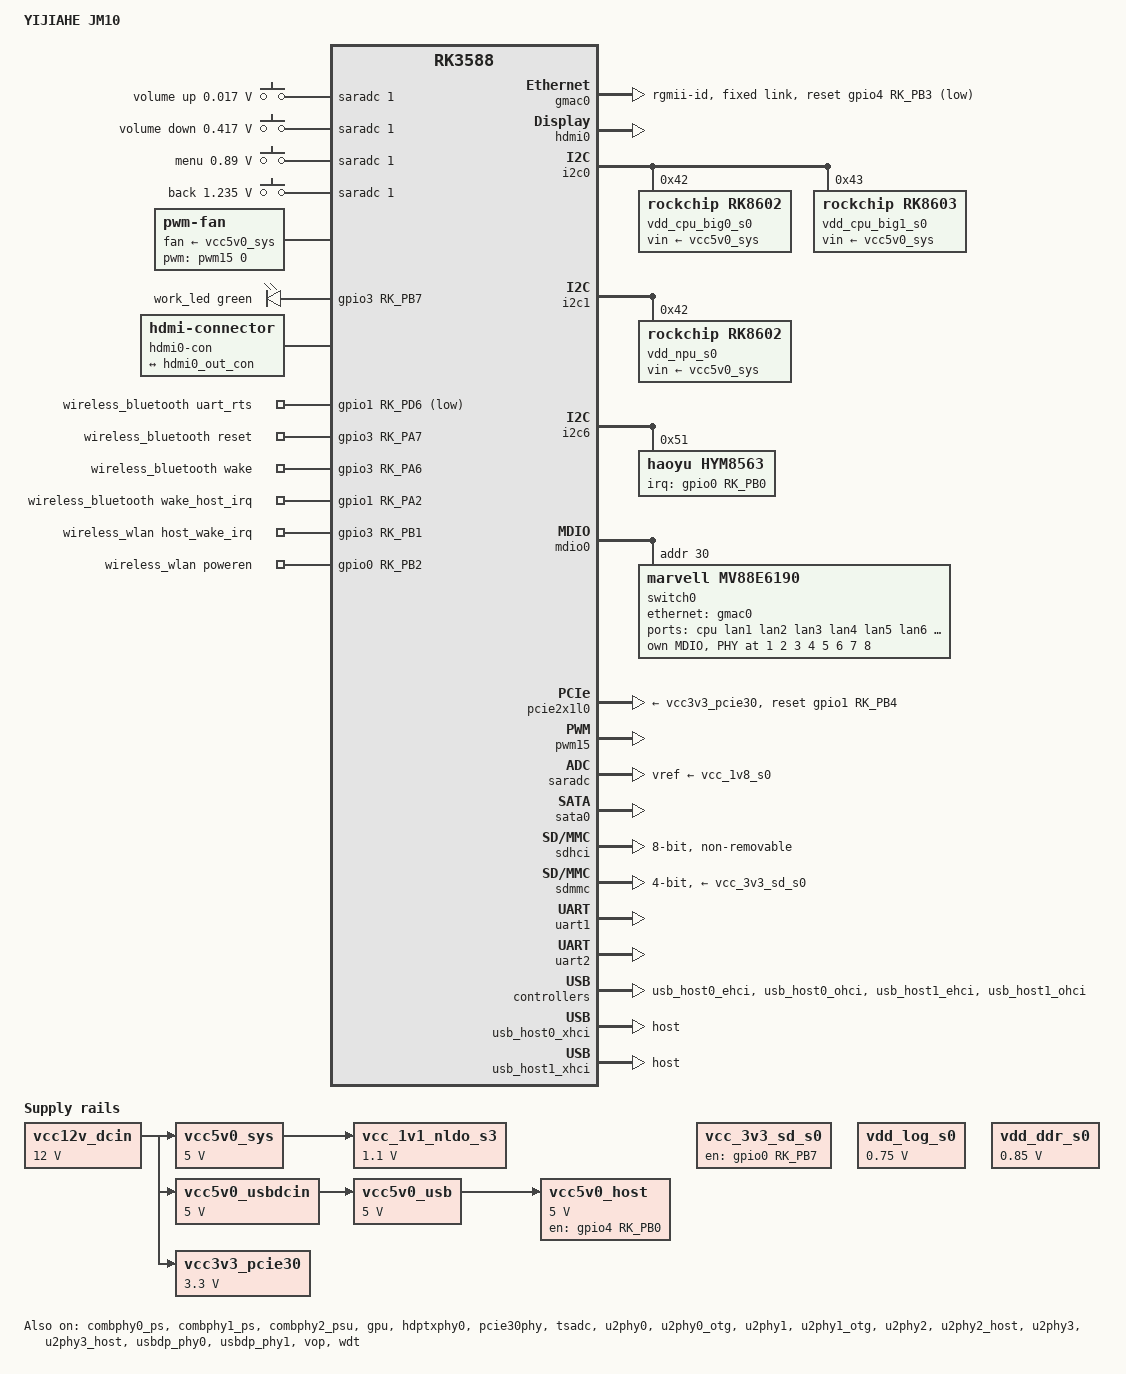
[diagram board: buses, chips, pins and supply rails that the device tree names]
// SPDX-License-Identifier: (GPL-2.0+ OR MIT)
// Copyright (c) 2025 YIJIAHE

/dts-v1/;

#include <dt-bindings/gpio/gpio.h>
#include <dt-bindings/leds/common.h>
#include <dt-bindings/input/input.h>
#include <dt-bindings/pwm/pwm.h>
#include <dt-bindings/pinctrl/rockchip.h>
#include <dt-bindings/soc/rockchip,vop2.h>
#include <dt-bindings/usb/pd.h>
#include <rockchip/rk3588.dtsi>
#include "rk3588-rk806-single.dtsi"
#include "rk3588s-ip.dtsi"
#include "rk3588s-ip-supply.dtsi"

#include "rk3588-ramoops.dtsi"

/ {
	model = "YIJIAHE JM10";
	compatible = "yijiahe,jm10", "rockchip,rk3588";

	aliases {
		mmc0 = &sdhci;
		mmc1 = &sdmmc;
		ethernet0 = &gmac0;
	};

	chosen {
		stdout-path = "serial2:1500000n8";
	};

	adc-keys {
		compatible = "adc-keys";
		io-channels = <&saradc 1>;
		io-channel-names = "buttons";
		keyup-threshold-microvolt = <1800000>;
		poll-interval = <100>;

		vol-up-key {
			label = "volume up";
			linux,code = <KEY_VOLUMEUP>;
			press-threshold-microvolt = <17000>;
		};

		vol-down-key {
			label = "volume down";
			linux,code = <KEY_VOLUMEDOWN>;
			press-threshold-microvolt = <417000>;
		};

		menu-key {
			label = "menu";
			linux,code = <KEY_MENU>;
			press-threshold-microvolt = <890000>;
		};

		back-key {
			label = "back";
			linux,code = <KEY_BACK>;
			press-threshold-microvolt = <1235000>;
		};
	};

	fan: pwm-fan {
		compatible = "pwm-fan";
		cooling-levels = <0 50 100 150 220 255>;
		pwms = <&pwm15 0 1000000 0>;
		fan-supply = <&vcc5v0_sys>;
		#cooling-cells = <2>;
	};

	gpio-leds {
		compatible = "gpio-leds";
		pinctrl-names = "default";
		pinctrl-0 = <&work_led_pin>;

		work_led: work-led {
			color = <LED_COLOR_ID_GREEN>;
			function = LED_FUNCTION_HEARTBEAT;
			gpios = <&gpio3 RK_PB7 GPIO_ACTIVE_HIGH>;
		};
	};

	hdmi0-con {
		compatible = "hdmi-connector";
		type = "a";

		port {
			hdmi0_con_in: endpoint {
				remote-endpoint = <&hdmi0_out_con>;
			};
		};
	};

	vcc12v_dcin: vcc12v-dcin-regulator {
		compatible = "regulator-fixed";
		regulator-name = "vcc12v_dcin";
		regulator-always-on;
		regulator-boot-on;
		regulator-min-microvolt = <12000000>;
		regulator-max-microvolt = <12000000>;
	};

	vcc5v0_sys: vcc5v0-sys-regulator {
		compatible = "regulator-fixed";
		regulator-name = "vcc5v0_sys";
		regulator-always-on;
		regulator-boot-on;
		regulator-min-microvolt = <5000000>;
		regulator-max-microvolt = <5000000>;
		vin-supply = <&vcc12v_dcin>;
	};

	vcc5v0_usbdcin: vcc5v0-usbdcin-regulator {
		compatible = "regulator-fixed";
		regulator-name = "vcc5v0_usbdcin";
		regulator-always-on;
		regulator-boot-on;
		regulator-min-microvolt = <5000000>;
		regulator-max-microvolt = <5000000>;
		vin-supply = <&vcc12v_dcin>;
	};

	vcc5v0_usb: vcc5v0-usb-regulator {
		compatible = "regulator-fixed";
		regulator-name = "vcc5v0_usb";
		regulator-always-on;
		regulator-boot-on;
		regulator-min-microvolt = <5000000>;
		regulator-max-microvolt = <5000000>;
		vin-supply = <&vcc5v0_usbdcin>;
	};

	vcc3v3_pcie30: vcc3v3-pcie30-regulator {
		compatible = "regulator-fixed";
		regulator-name = "vcc3v3_pcie30";
		regulator-min-microvolt = <3300000>;
		regulator-max-microvolt = <3300000>;
		regulator-boot-on;
		enable-active-high;
		pinctrl-names = "default";
		pinctrl-0 = <&wifi_poweren_gpio>;
		vin-supply = <&vcc12v_dcin>;
	};

	vcc_1v1_nldo_s3: vcc-1v1-nldo-s3-regulator {
		compatible = "regulator-fixed";
		regulator-name = "vcc_1v1_nldo_s3";
		regulator-always-on;
		regulator-boot-on;
		regulator-min-microvolt = <1100000>;
		regulator-max-microvolt = <1100000>;
		vin-supply = <&vcc5v0_sys>;
	};

	vcc5v0_host: vcc5v0-host-regulator {
		compatible = "regulator-fixed";
		regulator-name = "vcc5v0_host";
		regulator-boot-on;
		regulator-always-on;
		regulator-min-microvolt = <5000000>;
		regulator-max-microvolt = <5000000>;
		enable-active-high;
		gpio = <&gpio4 RK_PB0 GPIO_ACTIVE_HIGH>;
		vin-supply = <&vcc5v0_usb>;
		pinctrl-names = "default";
		pinctrl-0 = <&vcc5v0_host_en>;
	};

	vcc_3v3_sd_s0: vcc-3v3-sd-s0-regulator {
		compatible = "regulator-fixed";
		gpio = <&gpio0 RK_PB7 GPIO_ACTIVE_HIGH>;
		pinctrl-names = "default";
		pinctrl-0 = <&sd_s0_pwr>;
		regulator-name = "vcc_3v3_sd_s0";
		enable-active-high;
	};

	wireless_bluetooth: wireless-bluetooth {
		compatible = "bluetooth-platdata";
		clocks = <&hym8563>;
		clock-names = "ext_clock";
		uart_rts_gpios = <&gpio1 RK_PD6 GPIO_ACTIVE_LOW>;
		pinctrl-names = "default", "rts_gpio";
		pinctrl-0 = <&uart1m1_rtsn>;
		pinctrl-1 = <&uart1_rts_gpio>;
		BT,reset_gpio = <&gpio3 RK_PA7 GPIO_ACTIVE_HIGH>;
		BT,wake_gpio = <&gpio3 RK_PA6 GPIO_ACTIVE_HIGH>;
		BT,wake_host_irq = <&gpio1 RK_PA2 GPIO_ACTIVE_HIGH>;
		status = "okay";
	};

	wireless_wlan: wireless-wlan {
		compatible = "wlan-platdata";
		wifi_chip_type = "ap6275p";
		pinctrl-names = "default";
		pinctrl-0 = <&wifi_host_wake_irq>;
		WIFI,host_wake_irq = <&gpio3 RK_PB1 GPIO_ACTIVE_HIGH>;
		WIFI,poweren_gpio = <&gpio0 RK_PB2 GPIO_ACTIVE_HIGH>;
		status = "okay";
	};
};

&combphy0_ps {
	status = "okay";
};

&combphy1_ps {
	status = "okay";
};

&combphy2_psu {
	status = "okay";
};

&cpu_b0 {
	cpu-supply = <&vdd_cpu_big0_s0>;
};

&cpu_b1 {
	cpu-supply = <&vdd_cpu_big0_s0>;
};

&cpu_b2 {
	cpu-supply = <&vdd_cpu_big1_s0>;
};

&cpu_b3 {
	cpu-supply = <&vdd_cpu_big1_s0>;
};

&cpu_l0 {
	cpu-supply = <&vdd_cpu_lit_s0>;
};

&cpu_l1 {
	cpu-supply = <&vdd_cpu_lit_s0>;
};

&cpu_l2 {
	cpu-supply = <&vdd_cpu_lit_s0>;
};

&cpu_l3 {
	cpu-supply = <&vdd_cpu_lit_s0>;
};

&gmac0 {
	phy-mode = "rgmii-id";
	clock_in_out = "output";
	snps,reset-gpio = <&gpio4 RK_PB3 GPIO_ACTIVE_LOW>;
	snps,reset-active-low;
	snps,reset-delays-us = <0 20000 100000>;
	pinctrl-names = "default";
	pinctrl-0 = <&gmac0_miim
		     &gmac0_tx_bus2
		     &gmac0_rx_bus2
		     &gmac0_rgmii_clk
		     &gmac0_rgmii_bus>;
	tx_delay = <0x45>;
	status = "okay";

	fixed-link {
		speed = <1000>;
		full-duplex;
	};
};

&gpu {
	mali-supply = <&vdd_gpu_s0>;
	mem-supply = <&vdd_gpu_mem_s0>;
	status = "okay";
};

&hdmi0 {
	status = "okay";
};

&hdmi0_in {
	hdmi0_in_vp0: endpoint {
		remote-endpoint = <&vp0_out_hdmi0>;
	};
};

&hdmi0_out {
	hdmi0_out_con: endpoint {
		remote-endpoint = <&hdmi0_con_in>;
	};
};

&hdptxphy0 {
	status = "okay";
};

&i2c0 {
	pinctrl-names = "default";
	pinctrl-0 = <&i2c0m2_xfer>;
	status = "okay";

	vdd_cpu_big0_s0: regulator@42 {
		compatible = "rockchip,rk8602";
		reg = <0x42>;
		fcs,suspend-voltage-selector = <1>;
		regulator-compatible = "rk860x-reg";
		regulator-name = "vdd_cpu_big0_s0";
		regulator-always-on;
		regulator-boot-on;
		regulator-min-microvolt = <550000>;
		regulator-max-microvolt = <1050000>;
		regulator-ramp-delay = <2300>;
		vin-supply = <&vcc5v0_sys>;

		regulator-state-mem {
			regulator-off-in-suspend;
		};
	};

	vdd_cpu_big1_s0: regulator@43 {
		compatible = "rockchip,rk8603", "rockchip,rk8602";
		reg = <0x43>;
		fcs,suspend-voltage-selector = <1>;
		regulator-compatible = "rk860x-reg";
		regulator-name = "vdd_cpu_big1_s0";
		regulator-always-on;
		regulator-boot-on;
		regulator-min-microvolt = <550000>;
		regulator-max-microvolt = <1050000>;
		regulator-ramp-delay = <2300>;
		vin-supply = <&vcc5v0_sys>;

		regulator-state-mem {
			regulator-off-in-suspend;
		};
	};
};

&i2c1 {
	pinctrl-names = "default";
	pinctrl-0 = <&i2c1m2_xfer>;
	status = "okay";

	vdd_npu_s0: vdd_npu_mem_s0: regulator@42 {
		compatible = "rockchip,rk8602";
		reg = <0x42>;
		fcs,suspend-voltage-selector = <1>;
		regulator-compatible = "rk860x-reg";
		regulator-name = "vdd_npu_s0";
		regulator-always-on;
		regulator-boot-on;
		regulator-min-microvolt = <550000>;
		regulator-max-microvolt = <950000>;
		regulator-ramp-delay = <2300>;
		vin-supply = <&vcc5v0_sys>;

		regulator-state-mem {
			regulator-off-in-suspend;
		};
	};
};

&i2c6 {
	status = "okay";

	hym8563: rtc@51 {
		compatible = "haoyu,hym8563";
		reg = <0x51>;
		interrupt-parent = <&gpio0>;
		interrupts = <RK_PB0 IRQ_TYPE_LEVEL_LOW>;
		#clock-cells = <0>;
		clock-output-names = "hym8563";
		pinctrl-names = "default";
		pinctrl-0 = <&hym8563_int>;
		wakeup-source;
	};
};

&mdio0 {
	switch0: switch@1e {
		compatible = "marvell,mv88e6190";
		#address-cells = <1>;
		#size-cells = <0>;
		reg = <0x1e>;
		dsa,member = <0 0>;

		ports {
			#address-cells = <1>;
			#size-cells = <0>;

			port@0 {
				reg = <0>;
				label = "cpu";
				ethernet = <&gmac0>;
				phy-mode = "rgmii-id";
				fixed-link {
					speed = <1000>;
					full-duplex;
				};
			};

			port@1 {
				reg = <1>;
				label = "lan1";
				phy-handle = <&switch0phy1>;
			};

			port@2 {
				reg = <2>;
				label = "lan2";
				phy-handle = <&switch0phy2>;
			};

			port@3 {
				reg = <3>;
				label = "lan3";
				phy-handle = <&switch0phy3>;
			};

			port@4 {
				reg = <4>;
				label = "lan4";
				phy-handle = <&switch0phy4>;
			};

			port@5 {
				reg = <5>;
				label = "lan5";
				phy-handle = <&switch0phy5>;
			};

			port@6 {
				reg = <6>;
				label = "lan6";
				phy-handle = <&switch0phy6>;
			};

			port@7 {
				reg = <7>;
				label = "lan7";
				phy-handle = <&switch0phy7>;
			};

			port@8 {
				reg = <8>;
				label = "lan8";
				phy-handle = <&switch0phy8>;
			};
		};

		mdio {
			#address-cells = <1>;
			#size-cells = <0>;

			switch0phy1: ethernet-phy@1 {
				reg = <1>;
			};
			switch0phy2: ethernet-phy@2 {
				reg = <2>;
			};
			switch0phy3: ethernet-phy@3 {
				reg = <3>;
			};
			switch0phy4: ethernet-phy@4 {
				reg = <4>;
			};
			switch0phy5: ethernet-phy@5 {
				reg = <5>;
			};
			switch0phy6: ethernet-phy@6 {
				reg = <6>;
			};
			switch0phy7: ethernet-phy@7 {
				reg = <7>;
			};
			switch0phy8: ethernet-phy@8 {
				reg = <8>;
			};
		};
	};
};

&package_thermal {
	polling-delay = <1000>;

	trips {
		package_fan0: package-fan0 {
			temperature = <40000>;
			hysteresis = <5000>;
			type = "active";
		};

		package_fan1: package-fan1 {
			temperature = <45000>;
			hysteresis = <5000>;
			type = "active";
		};

		package_fan2: package-fan2 {
			temperature = <50000>;
			hysteresis = <5000>;
			type = "active";
		};

		package_fan3: package-fan3 {
			temperature = <55000>;
			hysteresis = <5000>;
			type = "active";
		};

		package_fan4: package-fan4 {
			temperature = <60000>;
			hysteresis = <5000>;
			type = "active";
		};
	};

	cooling-maps {
		map0 {
			trip = <&package_fan0>;
			cooling-device = <&fan 0 1>;
		};

		map1 {
			trip = <&package_fan1>;
			cooling-device = <&fan 1 2>;
		};

		map2 {
			trip = <&package_fan2>;
			cooling-device = <&fan 2 3>;
		};

		map3 {
			trip = <&package_fan3>;
			cooling-device = <&fan 3 4>;
		};

		map4 {
			trip = <&package_fan4>;
			cooling-device = <&fan 4 5>;
		};
	};
};

&pcie2x1l0 {
	reset-gpios = <&gpio1 RK_PB4 GPIO_ACTIVE_HIGH>;
	rockchip,skip-scan-in-resume;
	rockchip,perst-inactive-ms = <500>;
	vpcie3v3-supply = <&vcc3v3_pcie30>;
	status = "okay";
};

&pcie30phy {
	status = "okay";
};

&pinctrl {
	hym8563 {
		hym8563_int: hym8563-int {
			rockchip,pins = <0 RK_PB0 RK_FUNC_GPIO &pcfg_pull_up>;
		};
	};

	leds {
		work_led_pin: work-led-pin {
			rockchip,pins = <3 RK_PB7 RK_FUNC_GPIO &pcfg_pull_none>;
		};
	};

	sdmmc {
		sd_s0_pwr: sd-s0-pwr {
			rockchip,pins = <0 RK_PB7 RK_FUNC_GPIO &pcfg_pull_up>;
		};
	};

	usb {
		vcc5v0_host_en: vcc5v0-host-en {
			rockchip,pins = <4 RK_PB0 RK_FUNC_GPIO &pcfg_pull_none>;
		};
	};

	wireless-wlan {
		wifi_poweren_gpio: wifi-poweren-gpio {
			rockchip,pins = <3 RK_PB1 RK_FUNC_GPIO &pcfg_pull_up>;
		};

		wifi_host_wake_irq: wifi-host-wake-irq {
			rockchip,pins = <0 RK_PB2 RK_FUNC_GPIO &pcfg_pull_up>;
		};
	};

	wireless-bluetooth {
		uart1_rts_gpio: uart1-rts-gpio {
			rockchip,pins = <1 RK_PD6 RK_FUNC_GPIO &pcfg_pull_none>;
		};
	};
};

&pwm15 {
	pinctrl-0 = <&pwm15m2_pins>;
	status = "okay";
};

&saradc {
	vref-supply = <&vcc_1v8_s0>;
	status = "okay";
};

&sata0 {
	status = "okay";
};

&sdhci {
	bus-width = <8>;
	no-sdio;
	no-sd;
	non-removable;
	max-frequency = <200000000>;
	mmc-hs400-1_8v;
	mmc-hs400-enhanced-strobe;
	status = "okay";
};

&sdmmc {
	max-frequency = <150000000>;
	no-sdio;
	no-mmc;
	bus-width = <4>;
	cap-mmc-highspeed;
	cap-sd-highspeed;
	disable-wp;
	sd-uhs-sdr104;
	vqmmc-supply = <&vccio_sd_s0>;
	vmmc-supply = <&vcc_3v3_sd_s0>;
	status = "okay";
};

&tsadc {
	status = "okay";
};

&u2phy0 {
	status = "okay";
};

&u2phy0_otg {
	status = "okay";
};

&u2phy1 {
	status = "okay";
};

&u2phy1_otg {
	phy-supply = <&vcc5v0_host>;
	status = "okay";
};

&u2phy2 {
	status = "okay";
};

&u2phy2_host {
	phy-supply = <&vcc5v0_host>;
	status = "okay";
};

&u2phy3 {
	status = "okay";
};

&u2phy3_host {
	phy-supply = <&vcc5v0_host>;
	status = "okay";
};

&uart1 {
	status = "okay";
	pinctrl-names = "default";
	pinctrl-0 = <&uart1m1_xfer>, <&uart1m1_ctsn>;
};

&uart2 {
	pinctrl-0 = <&uart2m0_xfer>;
	status = "okay";
};

&usb_host0_ehci {
	status = "okay";
};

&usb_host0_ohci {
	status = "okay";
};

&usb_host0_xhci {
	dr_mode = "host";
	status = "okay";
};

&usb_host1_ehci {
	status = "okay";
};

&usb_host1_ohci {
	status = "okay";
};

&usb_host1_xhci {
	dr_mode = "host";
	status = "okay";
};

&usbdp_phy0 {
	status = "okay";
};

&usbdp_phy1 {
	status = "okay";
};

&vdd_gpu_s0 {
	regulator-always-on;
};

&vdd_log_s0 {
	/delete-property/ regulator-off-in-suspend;
	regulator-on-in-suspend;
	regulator-min-microvolt = <750000>;
};

&vdd_ddr_s0 {
	regulator-min-microvolt = <850000>;
	regulator-max-microvolt = <850000>;
};

&vop {
	status = "okay";
	vop-supply = <&vdd_log_s0>;
};

&vop_mmu {
	status = "okay";
};

&vp0 {
	vp0_out_hdmi0: endpoint@ROCKCHIP_VOP2_EP_HDMI0 {
		reg = <ROCKCHIP_VOP2_EP_HDMI0>;
		remote-endpoint = <&hdmi0_in_vp0>;
	};
};

&wdt {
	status = "okay";
};
